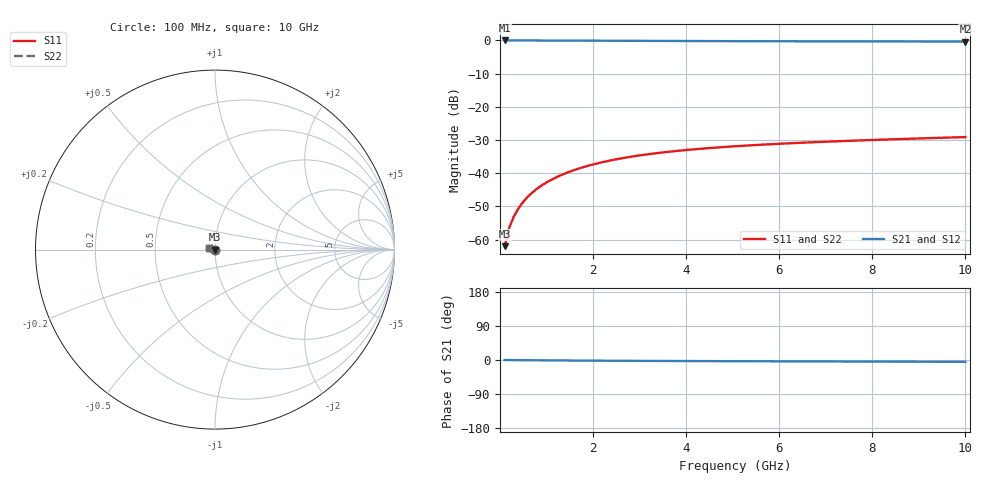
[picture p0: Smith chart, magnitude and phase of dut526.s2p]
! Touchstone file exported from HFSS 2024.1.0
!  File:  C:/UserFiles/LocalFiles/RDL_TSV_Batchsim/temp_TSV1_526_1779703951.aedt
!  Generated:  06:17:11 PM May 25, 2026
!  Design:  TSV1
!  Project:  temp_TSV1_526_1779703951
!  Setup:  Setup1
!  Solution:  Sweep
! Variables:
!  dtsv = 6.53um
!  hbump = 3um
!  htsv = 74.13um
!  lrdl = 252.1521522um
!  p = 40
!  p1 = 40.91um
!  t = 500um
!  trdl = 3um
!  wrdl = 24.89489489um
# GHz S MA R 50.000000
! Terminal data exported
! Port[1] = TSV22_T1
! Port[2] = TSV22_T2
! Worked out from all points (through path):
!   100 points, 100 MHz to 10 GHz, reference 50 ohm
!   highest |S21| = 0.00 dB at 100 MHz (marker M1); lowest = -0.3 dB at 10 GHz (marker M2)
!   lowest |S11| = -62.0 dB at 100 MHz (marker M3), VSWR 1.00, Z = 50 - j0.0741 ohm
!   |S11| at or under -10 dB: start of sweep to end of sweep
!   |S22| runs from -62.0 to -29.1 dB; largest |S21 - S12| = 5.2e-15
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0.1  0.0007987 -68.0  0.9997 -0.1  0.9997 -0.1  0.0007987 -68.0
! Gamma 0 0 0 0
! Port Impedance 50 0 50 0
0.2  0.001517 -81.0  0.9996 -0.2  0.9996 -0.2  0.001517 -81.0
0.3  0.00225 -86.8  0.9994 -0.3  0.9994 -0.3  0.00225 -86.8
0.4  0.002984 -90.6  0.9993 -0.4  0.9993 -0.4  0.002984 -90.6
0.5  0.003715 -93.6  0.9991 -0.5  0.9991 -0.5  0.003715 -93.6
0.6  0.004442 -96.1  0.9988 -0.6  0.9988 -0.6  0.004442 -96.1
0.7  0.005162 -98.4  0.9985 -0.7  0.9985 -0.7  0.005162 -98.4
0.8  0.005875 -100.5  0.9982 -0.8  0.9982 -0.8  0.005875 -100.5
0.9  0.006579 -102.6  0.9979 -0.8  0.9979 -0.8  0.006579 -102.6
1.1  0.007959 -106.4  0.997 -1.0  0.997 -1.0  0.007959 -106.4
1.4  0.009946 -111.7  0.9956 -1.3  0.9956 -1.3  0.009946 -111.7
1.6  0.01121 -115.1  0.9945 -1.4  0.9945 -1.4  0.01121 -115.1
1.8  0.01242 -118.3  0.9933 -1.6  0.9933 -1.6  0.01242 -118.3
2.1  0.01414 -122.9  0.9915 -1.8  0.9915 -1.8  0.01414 -122.9
2.5  0.01623 -128.7  0.989 -2.0  0.989 -2.0  0.01623 -128.7
2.9  0.01812 -134.1  0.9865 -2.3  0.9865 -2.3  0.01812 -134.1
3.4  0.02021 -140.3  0.9835 -2.5  0.9835 -2.5  0.02021 -140.3
4.2  0.02303 -149.2  0.9791 -2.9  0.9791 -2.9  0.02303 -149.2
5.1  0.02562 -157.9  0.9749 -3.2  0.9749 -3.2  0.02562 -157.9
6.7  0.02926 -170.8  0.9693 -3.8  0.9693 -3.8  0.02926 -170.8
8.4  0.03241 178.1  0.9652 -4.3  0.9652 -4.3  0.03241 178.1
10  0.03508 169.4  0.9624 -4.8  0.9624 -4.8  0.03507 169.4
